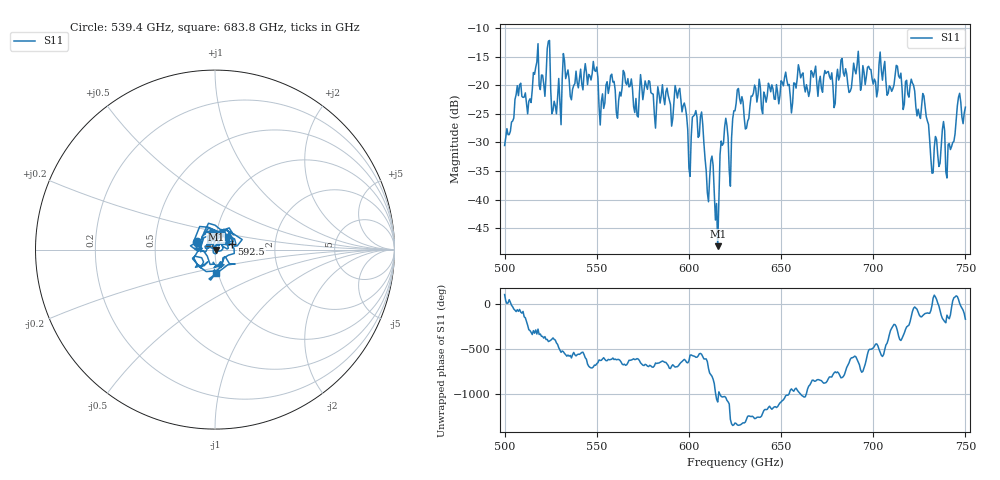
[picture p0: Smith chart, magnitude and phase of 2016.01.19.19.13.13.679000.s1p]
!Created with skrf (http://scikit-rf.org).
# GHz S RI R 50.0
!freq ReS11 ImS11
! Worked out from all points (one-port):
!   401 points, 500 GHz to 750 GHz, reference 50 ohm
!   lowest |S11| = -48.2 dB at 615.6 GHz (marker M1), VSWR 1.01, Z = 50.4 - j0.0824 ohm
!   |S11| at or under -10 dB: start of sweep to end of sweep
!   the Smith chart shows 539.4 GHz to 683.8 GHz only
!   S11 on the Smith chart (normalised r, x): 539.4 GHz: 0.82, +0.07; 592.5 GHz: 1.20, +0.08; 683.8 GHz: 0.98, -0.26
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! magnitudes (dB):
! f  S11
! 500 GHz  -30.5
! 507.5 GHz  -21.8
! 513.8 GHz  -22.4
! 516.9 GHz  -16.9
! 520.6 GHz  -18.3
! 523.8 GHz  -12.3
! 526.9 GHz  -22.8
! 531.2 GHz  -18.9
! 539.4 GHz  -19.5
! 562.5 GHz  -21.2
! 592.5 GHz  -20.1
! 593.8 GHz  -22.2
! 600 GHz  -34.5
! 603.1 GHz  -25.2
! 606.9 GHz  -24.7
! 610 GHz  -38.8
! 615.6 GHz  -48.2
! 618.8 GHz  -30.2
! 622.5 GHz  -37.7
! 625 GHz  -24.5
! 656.2 GHz  -23.1
! 683.8 GHz  -17.8
! 687.5 GHz  -21.1
! 690.6 GHz  -18.0
! 718.8 GHz  -21.6
! 728.1 GHz  -23.7
! 731.9 GHz  -35.4
! 750 GHz  -23.8
